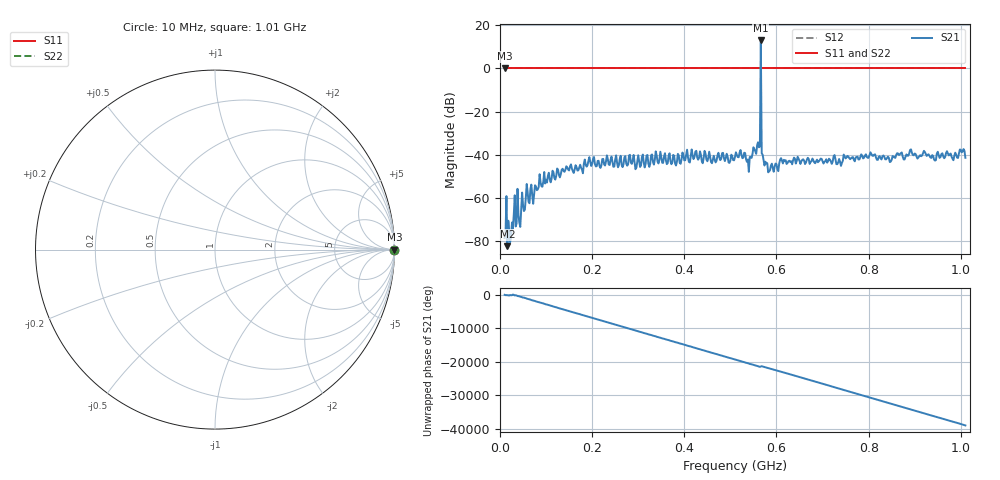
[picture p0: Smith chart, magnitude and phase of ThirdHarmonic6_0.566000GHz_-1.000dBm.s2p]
! 8/15/2025 6:07:53 PM
! C:\ANRITSUVNA\TEMP\TEMP.S2P
! CHANNEL.1
! TR.MEASUREMENT
! RAW.DATA
! RF.CORRECTION.OFF
! AVERAGING.OFF
! IF.BANDWIDTH: 5KHZ
! SWEEPTYPE:  FREQ.SWEEP(Linear)
! Reference Plane Port Info
! PORT:  PORT1  PORT2
! DISTANCE:  0  m  0  m
! TIME:  0  s  0  s
! PHASE.OFFSET:  0  deg.  0  deg.
! LOSS:  0  dB  0  dB
! REF.LOSS:  0  dB  0  dB
! REF.FREQ:  0  Hz  0  Hz
! Power Info
! POWER:  -20  dBm  -20  dBm
! EFF.POWER:  -20  dBm  -20  dBm
! SOURCE.ATTEN:  0  dB  0  dB
! TEST.ATTEN:  0  dB  0  dB
# GHZ S RI R 50.0
! FREQ.GHZ  S11RE  S11IM  S21RE  S21IM  S12RE  S12IM  S22RE  S22IM
!; PortSelection: Port_12
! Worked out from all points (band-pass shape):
!   501 points, 10 MHz to 1.01 GHz, reference 50 ohm
!   highest |S21| = 12.96 dB at 566 MHz (marker M1); lowest = -82.2 dB at 16 MHz (marker M2)
!   |S21| within 3 dB of the highest: 565.8779 MHz to 566.1148 MHz (237 kHz wide, 0.0419 % of centre)
!   lowest |S11| = 0.0 dB at 10 MHz (marker M3)
!   |S11| at or under -10 dB: nowhere
!   |S22| runs from 0.0 to 0.0 dB; largest |S21 - S12| = 5.4
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0.01  1 0  2.83e-05 0.000116  1 0  1 0
0.016  1 0  5.54e-05 -5.38e-05  1 0  1 0
0.02  1 0  -0.000126 -0.000127  1 0  1 0
0.034  1 0  0.000138 -0.000172  1 0  1 0
0.04  1 0  0.000251 0.000331  1 0  1 0
0.062  1 0  -0.000603 -0.000549  1 0  1 0
0.1  1 0  0.000775 0.00255  1 0  1 0
0.178  1 0  -0.00451 0.000515  1 0  1 0
0.344  1 0  0.00527 -0.00353  1 0  1 0
0.51  1 0  -0.00678 0.0059  1 0  1 0
0.538  1 0  -0.000359 0.00784  1 0  1 0
0.56  1 0  -0.00629 -0.0186  1 0  1 0
0.562  1 0  -0.0133 0.00691  1 0  1 0
0.566  1 0  -4.358 0.8706  1 0  1 0
0.57  1 0  -0.0101 -2.61e-05  1 0  1 0
0.572  1 0  -0.000509 0.0075  1 0  1 0
0.586  1 0  0.00246 -0.00368  1 0  1 0
0.612  1 0  0.00676 -0.00271  1 0  1 0
0.678  1 0  -0.00714 -0.00405  1 0  1 0
0.844  1 0  0.00821 0.00223  1 0  1 0
0.892  1 0  -0.00535 -0.0123  1 0  1 0
1.01  1 0  -0.00763 0.00387  1 0  1 0
